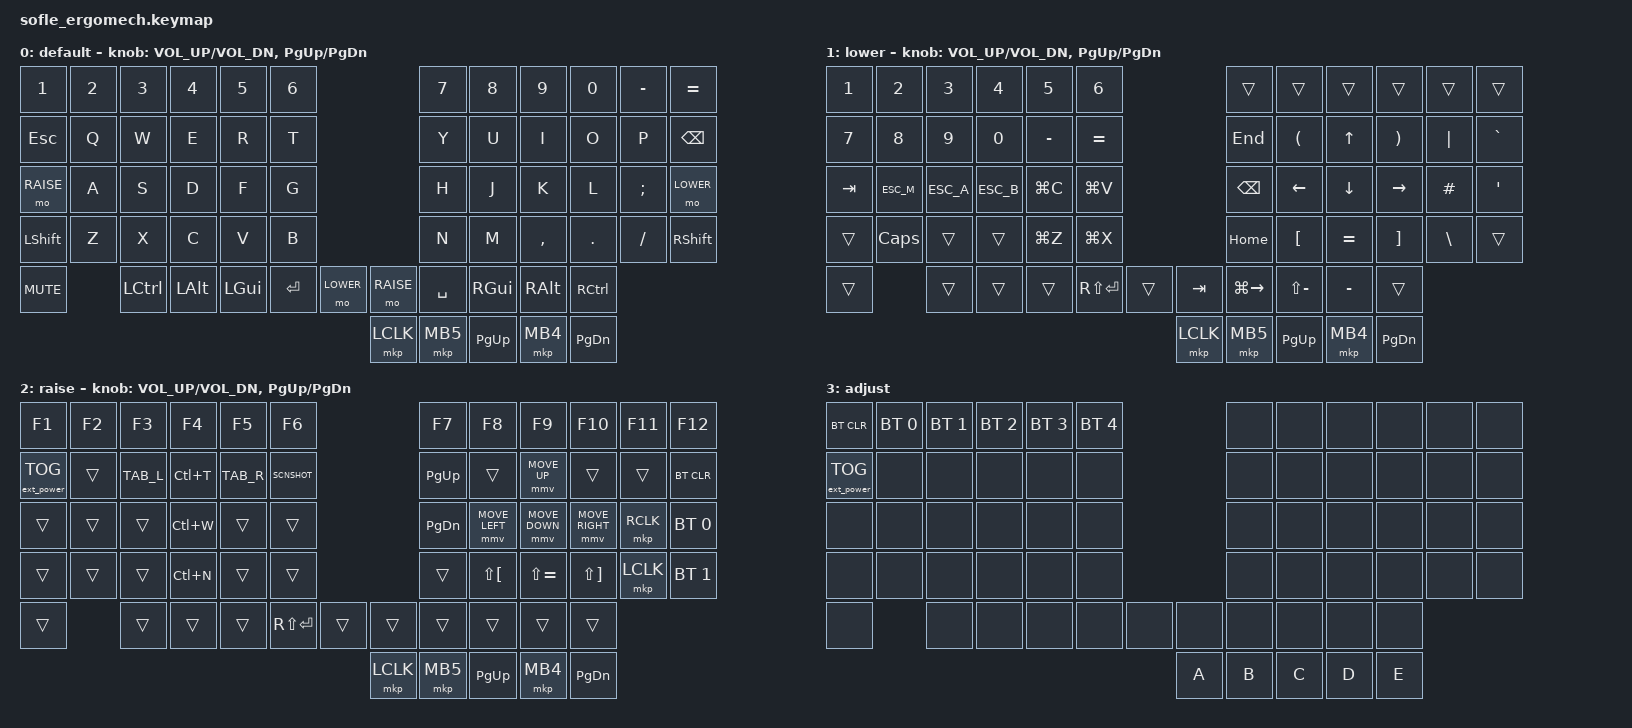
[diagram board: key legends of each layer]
/*
 * Copyright (c) 2020 The ZMK Contributorss
 *
 * SPDX-License-Identifier: MIT
 */

#include <behaviors.dtsi>
#include <dt-bindings/zmk/bt.h>
#include <dt-bindings/zmk/ext_power.h>
#include <dt-bindings/zmk/keys.h>
#include <dt-bindings/zmk/rgb.h>


#include <dt-bindings/zmk/mouse.h>

#define ZMK_POINTING_DEFAULT_MOVE_VAL 900  // default: 600
#define ZMK_POINTING_DEFAULT_SCRL_VAL 15   // default: 10

#include <dt-bindings/zmk/pointing.h>

#define BASE 0
#define LOWER 1
#define RAISE 2
#define ADJUST 3

#define MACRO(name, keys)                 \
name: name##_macro {                      \
    compatible     = "zmk,behavior-macro";\
    tap-ms         = <1>;                 \
    wait-ms        = <1>;                 \
    #binding-cells = <0>;                 \
    bindings       = <keys>;              \
};

/ {
    macros {
        MACRO(ESC_A,  &kp ESC &kp A)
        MACRO(ESC_B,  &kp ESC &kp B)
        MACRO(ESC_M,  &kp ESC &kp M)
        MACRO(ESC_Y,  &kp ESC &kp Y)
        MACRO(ESC_C,  &kp ESC &kp C)
        MACRO(TAB_R,  &kp LA(LGUI) &kp RIGHT)
        MACRO(TAB_L,  &kp LA(LGUI) &kp LEFT)
        MACRO(SCNSHOT,  &kp LSHFT &kp LGUI &kp S)
        MACRO(vim_q,  &kp COLON &kp Q &kp EXCL)
        MACRO(vim_s,  &kp COLON &kp X)
    };
};

/ {
    combos {
        compatible = "zmk,combos";
        combo_shift {
            timeout-ms = <500>;
            key-positions = <52 55>;
            bindings = <&kp LSHFT>;
            layers = <0>;
        };
    };
};

/ {
    // Activate ADJUST layer by pressing raise and lower

    conditional_layers {
        compatible = "zmk,conditional-layers";

        adjust_layer {
            if-layers = <LOWER RAISE>;
            then-layer = <ADJUST>;
        };
    };

    keymap {
        compatible = "zmk,keymap";
// -------------------------------------------KEY-POSITIONS------------------------------------------------------
// |   0    |  1   |  2    |  3     |  4    |  5    |                         |  6    |  7    |  8    |  9    |  10   |  11    |
// |  12    |  13  |  14   |  15    |  16   |  17   |                         |  18   |  19   |  20   |  21   |  22   |  23    |
// |  24    |  25  |  26   |  27    |  28   |  29   |                         |  30   |  31   |  32   |  33   |  34   |  35    |
// |  36    |  37  |  38   |  39    |  40   |  41   |  42    |        |       |  43   |  44   |  45   |  46   |  47   |  48    |
//                 |  49   |  50    |  51   |  52   |  53    |        | 54    |  55   |  56   |  57   |  58   |
        default_layer {
            label = "default";
// ------------------------------------------------------------------------------------------------------------
// |   1    |  2   |  3    |  4     |  5    |  6    |                         |  7    |  8    |  9    |  0    |  -_   |  =+    |
// | ESC    |  Q   |  W    |  E     |  R    |  T    |                         |  Y    |  U    |  I    |  O    |  P    | BKSPC  |
// | RAISE  |  A   |  S    |  D     |  F    |  G    |                         |  H    |  J    |  K    |  L    |  ;:   | LOWER  |
// | SHIFT  |  Z   |  X    |  C     |  V    |  B    |  MUTE  |        |       |  N    |  M    | ,<    | .>    |  /?   | SHIFT  |
//                 | CTRL  | ALT    | GUI   | ENTER |  LOWER |        | RAISE | SPACE | GUI   | ALT   | CTRL  |
            bindings = <
&kp N1      &kp N2 &kp N3      &kp N4   &kp N5    &kp N6                              &kp N7     &kp N8    &kp N9    &kp N0  &kp MINUS &kp EQUAL
&kp ESC     &kp Q  &kp W       &kp E    &kp R     &kp T                               &kp Y      &kp U     &kp I     &kp O   &kp P     &kp BSPC
&mo RAISE   &kp A  &kp S       &kp D    &kp F     &kp G                               &kp H      &kp J     &kp K     &kp L   &kp SEMI  &mo LOWER
&kp LSHFT   &kp Z  &kp X       &kp C    &kp V     &kp B                               &kp N      &kp M     &kp COMMA &kp DOT &kp FSLH  &kp RSHFT
      &kp C_MUTE   &kp LCTRL   &kp LALT &kp LGUI  &kp RET   &mo LOWER      &mo RAISE  &kp SPACE  &kp RGUI  &kp RALT  &kp RCTRL
                                                                           &mkp LCLK  &mkp MB5  &kp PG_UP &mkp MB4  &kp PG_DN
            >;
            sensor-bindings = <&inc_dec_kp C_VOL_UP C_VOL_DN &inc_dec_kp PG_UP PG_DN>;
        };

        lower_layer {
            label = "lower";
// TODO: Some binds are waiting for shifted keycode support.
// ------------------------------------------------------------------------------------------------------------
// |   1   |  2    |  3    |  4     |  5    |  6     |                         |        |        |        |      |        |       |
// |   7   |  8    |  9    |  0     |  -_   |  =+    |                         | END    |   (    |   ^    |   )  |   |    |    `  |
// | TAB   | ESC_M | ESC_A | ESC_B  | COPY  |  PASTE |                         | BKSPC  |   <-   |   v    |  ->  |   #    |  ' "  |
// |       | CAPS  |       |        | Undo  | CUT    |       |         |       | HOME   |   [    |   =    |   ]  |   \|   |       |
//                 |       |        |       | ^ENTER |       |         |  TAB  | LG(>)  | LS(-_) |   -_   |      |
            bindings = <
&kp N1    &kp N2    &kp N3       &kp N4      &kp N5        &kp N6                            &trans        &trans        &trans        &trans    &trans     &trans
&kp N7    &kp N8    &kp N9       &kp N0      &kp MINUS     &kp EQUAL                         &kp END       &kp LPAR      &kp UP        &kp RPAR  &kp PIPE   &kp GRAVE
&kp TAB   &ESC_M    &ESC_A       &ESC_B      &kp LG(C)     &kp LG(V)                         &kp BSPC      &kp LEFT      &kp DOWN      &kp RIGHT &kp HASH   &kp SQT
&trans    &kp CAPS  &trans       &trans      &kp LG(Z)     &kp LG(X)                         &kp HOME      &kp LBKT      &kp EQUAL     &kp RBKT  &kp BSLH   &trans
          &trans    &trans       &trans      &trans        &kp RS(RET) &trans       &kp TAB  &kp LG(RIGHT) &kp LS(MINUS) &kp MINUS     &trans
                                                                                    &mkp LCLK  &mkp MB5  &kp PG_UP &mkp MB4  &kp PG_DN
            >;
            sensor-bindings = <&inc_dec_kp C_VOL_UP C_VOL_DN &inc_dec_kp PG_UP PG_DN>;
        };

        raise_layer {
            label = "raise";
// ------------------------------------------------------------------------------------------------------------
// |   F1    |  F2     |  F3   |  F4    |  F5   |  F6     |                        |  F7  |  F8  |  F9   |  F10 |  F11  |  F12   |
// | EXTPWR  |         | LTab  | NEWTAB | RTab  | SCNSHOT |                        | PGUP |      | MOVE_UP |      |       | BTCLR  |
// |         | LG(`)   | LC(<) | delTAB | LC(>) |         |                        | PGDN | MOVE_LEFT | MOVE_DOWN | MOVE_RIGHT | RCLK | BT1 |
// |         |         |       | newWIN |       |         |      |        |        |      |  {   |   +   |  }   | LCLK | BT2 |
//                     |       |        |       | ^ENTER  |      |        |        |      |      |       |      |
            bindings = <
&kp  F1           &kp F2       &kp F3       &kp F4       &kp F5       &kp F6                       &kp F7    &kp F8        &kp F9        &kp F10      &kp F11      &kp F12
&ext_power EP_TOG &trans       &TAB_L       &kp LC(T)    &TAB_R       &SCNSHOT                     &kp PG_UP &trans        &mmv MOVE_UP   &trans        &trans       &bt BT_CLR
&trans            &trans       &trans       &kp LC(W)    &trans       &trans                       &kp PG_DN &mmv MOVE_LEFT &mmv MOVE_DOWN &mmv MOVE_RIGHT &mkp RCLK &bt BT_SEL 0
&trans            &trans       &trans       &kp LC(N)    &trans       &trans                       &trans    &kp LS(LBKT)  &kp LS(EQUAL) &kp LS(RBKT) &mkp LCLK &bt BT_SEL 1
                  &trans       &trans       &trans       &trans       &kp RS(RET)  &trans   &trans &trans    &trans        &trans        &trans
                                                                                            &mkp LCLK  &mkp MB5  &kp PG_UP &mkp MB4  &kp PG_DN
            >;

            sensor-bindings = <&inc_dec_kp C_VOL_UP C_VOL_DN &inc_dec_kp PG_UP PG_DN>;
        };


        adjust_layer {
// ----------------------------------------------------------------------------------------------------------------------------
// | BTCLR  |  BT1    |  BT2    |   BT3   |   BT4   |   BT5   |                  |      |      |       |      |       |       |
// | EXTPWR |         |         |         |         |         |                  |      |      |       |      |       |       |
// |        |         |         |         |         |         |                  |      |      |       |      |       |       |
// |        |         |         |         |         |         |         | |      |      |      |       |      |       |       |
//                    |         |         |         |         |         | |      |      |      |       |      |
            label = "adjust";
            bindings = <
&bt BT_CLR        &bt BT_SEL 0    &bt BT_SEL 1    &bt BT_SEL 2    &bt BT_SEL 3    &bt BT_SEL 4                            &none &none &none &none &none &none
&ext_power EP_TOG &none           &none           &none           &none           &none                                   &none &none &none &none &none &none
&none             &none           &none           &none           &none           &none                                   &none &none &none &none &none &none
&none             &none           &none           &none           &none           &none                             &none &none &none &none &none &none
                  &none           &none           &none           &none           &none            &none           &none  &none &none &none &none
                                                                                                                    &kp A      &kp B  &kp C &kp D  &kp E
            >;
        };
    };
};
